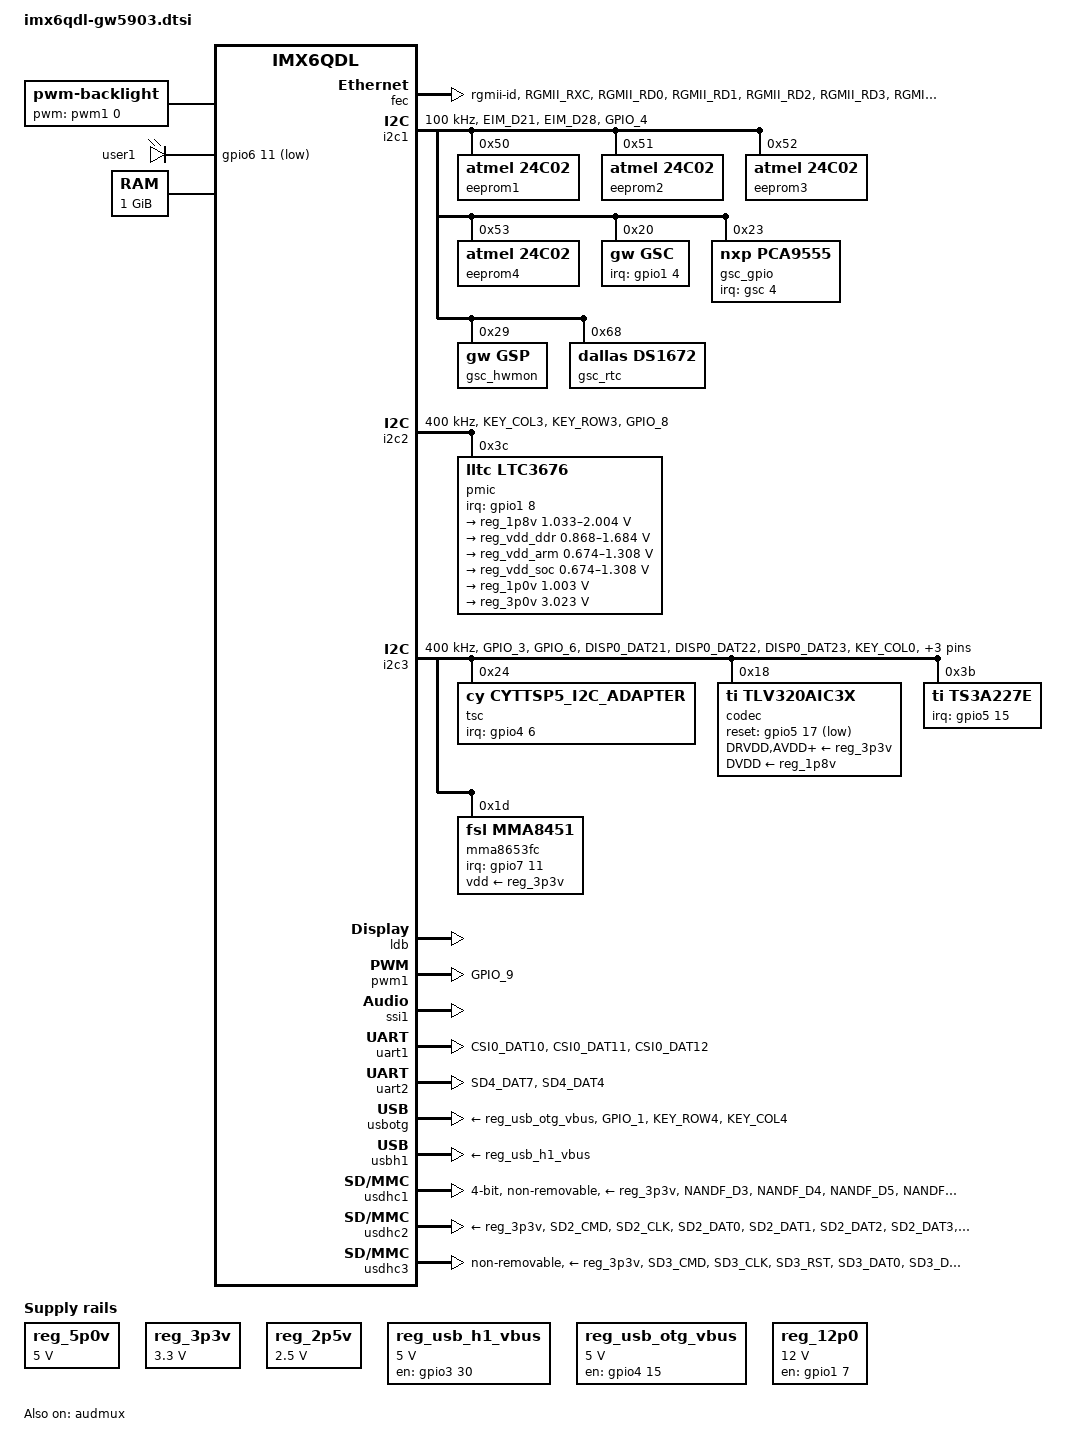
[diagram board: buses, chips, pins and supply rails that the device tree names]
/*
 * Copyright 2016 Gateworks Corporation
 *
 * The code contained herein is licensed under the GNU General Public
 * License. You may obtain a copy of the GNU General Public License
 * Version 2 or later at the following locations:
 *
 * http://www.opensource.org/licenses/gpl-license.html
 * http://www.gnu.org/copyleft/gpl.html
 */

#include <dt-bindings/gpio/gpio.h>

/ {
	aliases {
		mxcfb0 = &mxcfb1;
		ssi0 = &ssi1;
	};

	chosen {
		bootargs = "console=ttymxc1,115200";
	};

	backlight {
		compatible = "pwm-backlight";
		pwms = <&pwm1 0 5000000>;
		brightness-levels = <
			0  /*1  2  3  4  5  6*/  7  8  9
			10 11 12 13 14 15 16 17 18 19
			20 21 22 23 24 25 26 27 28 29
			30 31 32 33 34 35 36 37 38 39
			40 41 42 43 44 45 46 47 48 49
			50 51 52 53 54 55 56 57 58 59
			60 61 62 63 64 65 66 67 68 69
			70 71 72 73 74 75 76 77 78 79
			80 81 82 83 84 85 86 87 88 89
			90 91 92 93 94 95 96 97 98 99
			100
			>;
		default-brightness-level = <94>;
	};

	leds {
		compatible = "gpio-leds";
		pinctrl-names = "default";
		pinctrl-0 = <&pinctrl_gpio_leds>;

		led0: user1 {
			label = "user1";
			gpios = <&gpio6 11 GPIO_ACTIVE_LOW>; /* MX6_LECLED# */
			default-state = "off";
		};
	};

	memory {
		reg = <0x10000000 0x40000000>;
	};

	regulators {
		compatible = "simple-bus";
		#address-cells = <1>;
		#size-cells = <0>;

		reg_5p0v: regulator@0 {
			compatible = "regulator-fixed";
			reg = <0>;
			regulator-name = "5P0V";
			regulator-min-microvolt = <5000000>;
			regulator-max-microvolt = <5000000>;
			regulator-always-on;
		};

		reg_3p3v: regulator@1 {
			compatible = "regulator-fixed";
			reg = <1>;
			regulator-name = "3P3V";
			regulator-min-microvolt = <3300000>;
			regulator-max-microvolt = <3300000>;
			regulator-always-on;
		};

		reg_2p5v: regulator@2 {
			compatible = "regulator-fixed";
			reg = <2>;
			regulator-name = "2P5V";
			regulator-min-microvolt = <2500000>;
			regulator-max-microvolt = <2500000>;
			regulator-always-on;
		};

		reg_usb_h1_vbus: regulator@3 {
			compatible = "regulator-fixed";
			reg = <3>;
			regulator-name = "usb_h1_vbus";
			regulator-min-microvolt = <5000000>;
			regulator-max-microvolt = <5000000>;
			gpio = <&gpio3 30 0>;
			enable-active-high;
		};

		reg_usb_otg_vbus: regulator@4 {
			compatible = "regulator-fixed";
			reg = <4>;
			regulator-name = "usb_otg_vbus";
			regulator-min-microvolt = <5000000>;
			regulator-max-microvolt = <5000000>;
			gpio = <&gpio4 15 GPIO_ACTIVE_HIGH>;
			enable-active-high;
		};

		reg_12p0: regulator@5 {
			compatible = "regulator-fixed";
			reg = <5>;
			regulator-name = "12P0V";
			regulator-min-microvolt = <12000000>;
			regulator-max-microvolt = <12000000>;
			gpio = <&gpio1 7 GPIO_ACTIVE_HIGH>;
			enable-active-high;
		};
	};

	sound {
		compatible = "fsl,imx-audio-tlv320";
		model = "imx-tlv320";
		cpu-dai = <&ssi1>;
		audio-codec = <&codec>;
		/* routing of sink, soruce */
		audio-routing =
			/* TLV320 LINE1L pin <-> Mic Jack connector */
			"LINE1L", "Mic Jack",
			/* board Headphone Jack <-> HPOUT */
			"Headphone Jack", "HPLOUT",
			"Headphone Jack", "HPROUT",
			"Mic Jack", "Mic Bias";
		mux-int-port = <1>;
		mux-ext-port = <6>;
	};

	mxcfb1: fb@0 {
		/* LVDS */
		compatible = "fsl,mxc_sdc_fb";
		disp_dev = "ldb";
		interface_pix_fmt = "RGB666";
		default_bpp = <16>;
		int_clk = <0>;
		late_init = <0>;
		status = "okay";
	};

	v4l2_out {
		compatible = "fsl,mxc_v4l2_output";
		status = "okay";
	};
};

&audmux {
	pinctrl-names = "default";
	pinctrl-0 = <&pinctrl_audmux>;
	status = "okay";
};

&fec {
	pinctrl-names = "default";
	pinctrl-0 = <&pinctrl_enet>;
	phy-mode = "rgmii-id";
	pinctrl-assert-gpios = <&gpio1 25 GPIO_ACTIVE_HIGH>; /* PHY_EN */
/* FIXME: add back when/if we have support for DP83867 phy register write for 0x170
	phy-reset-gpios = <&gpio1 30 GPIO_ACTIVE_LOW>;
*/
	status = "okay";
};

&gpc {
	fsl,ldo-bypass = <0>;
};

&i2c1 {
	clock-frequency = <100000>;
	pinctrl-names = "default";
	pinctrl-0 = <&pinctrl_i2c1>;
	status = "okay";

	eeprom1: eeprom@50 {
		compatible = "atmel,24c02";
		reg = <0x50>;
		pagesize = <16>;
	};

	eeprom2: eeprom@51 {
		compatible = "atmel,24c02";
		reg = <0x51>;
		pagesize = <16>;
	};

	eeprom3: eeprom@52 {
		compatible = "atmel,24c02";
		reg = <0x52>;
		pagesize = <16>;
	};

	eeprom4: eeprom@53 {
		compatible = "atmel,24c02";
		reg = <0x53>;
		pagesize = <16>;
	};

	gsc: gsc@20 {
		compatible = "gw,gsc";
		reg = <0x20>;
		interrupt-parent = <&gpio1>;
		interrupts = <4 GPIO_ACTIVE_LOW>;
		interrupt-controller;
		#interrupt-cells = <1>;
		no-power-disable;

		/* GSC watchdog */
		watchdog {
			compatible = "gw,gsc_wdt";
			status = "okay";
		};

		/* Linux input events from GSC interrupt events */
		input {
			compatible = "gw,gsc_input";
			interrupt-parent = <&gsc>;
			interrupts = <0 1 2 5 7>;
			interrupt-names = "button", "key-erased", "eeprom-wp", "tamper", "button-held";
			status = "okay";
		};
	};

	gsc_gpio: pca9555@23 {
		compatible = "nxp,pca9555";
		reg = <0x23>;
		gpio-controller;
		#gpio-cells = <2>;
		interrupt-parent = <&gsc>;
		interrupts = <4>;
	};

	gsc_hwmon: hwmon@29 {
		compatible = "gw,gsp";
		reg = <0x29>;
	};

	gsc_rtc: ds1672@68 {
		compatible = "dallas,ds1672";
		reg = <0x68>;
	};
};

&i2c2 {
	clock-frequency = <400000>;
	pinctrl-names = "default";
	pinctrl-0 = <&pinctrl_i2c2>;
	status = "okay";

	pmic: ltc3676@3c {
		compatible = "lltc,ltc3676";
		reg = <0x3c>;
		interrupt-parent = <&gpio1>;
		interrupts = <8 IRQ_TYPE_EDGE_FALLING>;

		regulators {
			/* VDD_1P8 (1+R1/R2 = 2.505): Aud/eMMC/microSD/Touch */
			reg_1p8v: sw1 {
				regulator-name = "vdd1p8";
				regulator-min-microvolt = <1033310>;
				regulator-max-microvolt = <2004000>;
				lltc,fb-voltage-divider = <301000 200000>;
				regulator-ramp-delay = <7000>;
				regulator-boot-on;
				regulator-always-on;
			};

			/* VDD_DDR (1+R1/R2 = 2.105) */
			reg_vdd_ddr: sw2 {
				regulator-name = "vddddr";
				regulator-min-microvolt = <868310>;
				regulator-max-microvolt = <1684000>;
				lltc,fb-voltage-divider = <221000 200000>;
				regulator-ramp-delay = <7000>;
				regulator-boot-on;
				regulator-always-on;
			};

			/* VDD_ARM (1+R1/R2 = 1.635) */
			reg_vdd_arm: sw3 {
				regulator-name = "vddarm";
				regulator-min-microvolt = <674400>;
				regulator-max-microvolt = <1308000>;
				lltc,fb-voltage-divider = <127000 200000>;
				regulator-ramp-delay = <7000>;
				regulator-boot-on;
				regulator-always-on;
				linux,phandle = <&reg_vdd_arm>;
			};

			/* VDD_SOC (1+R1/R2 = 1.635) */
			reg_vdd_soc: sw4 {
				regulator-name = "vddsoc";
				regulator-min-microvolt = <674400>;
				regulator-max-microvolt = <1308000>;
				lltc,fb-voltage-divider = <127000 200000>;
				regulator-ramp-delay = <7000>;
				regulator-boot-on;
				regulator-always-on;
				linux,phandle = <&reg_vdd_soc>;
			};

			/* VDD_1P0 (1+R1/R2 = 1.38): */
			reg_1p0v: ldo2 {
				regulator-name = "vdd1p0";
				regulator-min-microvolt = <1002777>;
				regulator-max-microvolt = <1002777>;
				lltc,fb-voltage-divider = <100000 261000>;
				regulator-boot-on;
				regulator-always-on;
			};

			/* VDD_HIGH (1+R1/R2 = 4.17) */
			reg_3p0v: ldo4 {
				regulator-name = "vdd3p0";
				regulator-min-microvolt = <3023250>;
				regulator-max-microvolt = <3023250>;
				lltc,fb-voltage-divider = <634000 200000>;
				regulator-boot-on;
				regulator-always-on;
			};
		};
	};
};

&i2c3 {
	clock-frequency = <400000>;
	pinctrl-names = "default";
	pinctrl-0 = <&pinctrl_i2c3>;
	status = "okay";

	tsc@24 {
		compatible = "cy,cyttsp5_i2c_adapter";
		reg = <0x24>;
		interrupt-parent = <&gpio4>;
		interrupts = <6 IRQ_TYPE_EDGE_RISING>;

		cy,core {
			cy,name = "cyttsp5_core";

			cy,irq_gpio = <102>; /* GPIO4_IO06 */
			cy,rst_gpio = <104>; /* GPIO4_IO08 */
			cy,hid_desc_register = <1>;
			/* CY_CORE_FLAG_WAKE_ON_GESTURE | CY_CORE_FLAG_RESTORE_PARAMETERS */
			cy,flags = <5>;
			/* CY_CORE_EWG_NONE */
			cy,easy_wakeup_gesture = <0>;

			cy,mt {
				cy,name = "cyttsp5_mt";
				cy,inp_dev_name = "cyttsp5_mt";
				/* CY_MT_FLAG_INV_X | CY_MT_FLAG_INV_Y */
				cy,flags = <0x30>;
				cy,abs =
					/* ABS_MT_POSITION_X, CY_ABS_MIN_X, CY_ABS_MAX_X, 0, 0 */
					<0x35 0 880 0 0
					/* ABS_MT_POSITION_Y, CY_ABS_MIN_Y, CY_ABS_MAX_Y, 0, 0 */
					0x36 0 1280 0 0
					/* ABS_MT_PRESSURE, CY_ABS_MIN_P, CY_ABS_MAX_P, 0, 0 */
					0x3a 0 255 0 0
					/* CY_IGNORE_VALUE, CY_ABS_MIN_W, CY_ABS_MAX_W, 0, 0 */
					0xffff 0 255 0 0
					/* ABS_MT_TRACKING_ID, CY_ABS_MIN_T, CY_ABS_MAX_T, 0, 0 */
					0x39 0 15 0 0
					/* ABS_MT_TOUCH_MAJOR, 0, 255, 0, 0 */
					0x30 0 255 0 0
					/* ABS_MT_TOUCH_MINOR, 0, 255, 0, 0 */
					0x31 0 255 0 0
					/* ABS_MT_ORIENTATION, -127, 127, 0, 0 */
					0x34 0xffffff81 127 0 0
					/* ABS_MT_TOOL_TYPE, 0, MT_TOOL_MAX, 0, 0 */
					0x37 0 1 0 0
					/* ABS_DISTANCE, 0, 255, 0, 0 */
					0x19 0 255 0 0>;
			};
		};
	};

	codec: tlv320aic3105@18 {
		compatible = "ti,tlv320aic3x";
		reg = <0x18>;
		gpio-reset = <&gpio5 17 GPIO_ACTIVE_LOW>;
		clocks = <&clks IMX6QDL_CLK_CKO>;
		ai3x-micbias-vg = <2>; /* MICBIAS_2_5V */
		status = "okay";

		/* Regulators */
		DRVDD-supply = <&reg_3p3v>;
		AVDD-supply = <&reg_3p3v>;
		IOVDD-supply = <&reg_3p3v>;
		DVDD-supply = <&reg_1p8v>;
	};

	/* headphone detect */
	ts3a227e@3b {
		compatible = "ti,ts3a227e";
		reg = <0x3b>;
		interrupt-parent = <&gpio5>;
		interrupts = <15 IRQ_TYPE_LEVEL_LOW>;
		ti,micbias = <4>; /* 2.5V micbias */
	};

	/* accelerometer */
	mma8653fc@1d {
		compatible = "fsl,mma8451";
		reg = <0x1d>;
		interrupt-parent = <&gpio7>;
		interrupts = <11 IRQ_TYPE_EDGE_RISING>;
		interrupt-route = <1>;
		position = <7>;
		vdd-supply = <&reg_3p3v>;
	};
};

&ldb {
	status = "okay";

	lvds1: lvds-channel@0 {
		fsl,data-mapping = "spwg";
		fsl,data-width = <18>;
		crtc = "ipu1-di0";
		status = "okay";
		primary;

		display-timings {
			native-mode = <&timing0>;

			timing0: g101evn010 {
				clock-frequency = <68930000>;
				hactive = <1280>;
				vactive = <800>;
				hback-porch = <220>;
				hfront-porch = <40>;
				vback-porch = <21>;
				vfront-porch = <7>;
				hsync-len = <60>;
				vsync-len = <10>;
				linux,phandle = <&timing0>;
			};
		};
	};
};

&pwm1 {
	pinctrl-names = "default";
	pinctrl-0 = <&pinctrl_pwm1>;
	status = "okay";
};

&ssi1 {
	fsl,mode = "i2s-slave";
	status = "okay";
};

&uart1 {
	pinctrl-names = "default";
	pinctrl-0 = <&pinctrl_uart1>;
	status = "okay";
};

&uart2 {
	pinctrl-names = "default";
	pinctrl-0 = <&pinctrl_uart2>;
	status = "okay";
};

&usbotg {
	vbus-supply = <&reg_usb_otg_vbus>;
	pinctrl-names = "default";
	pinctrl-0 = <&pinctrl_usbotg>;
	disable-over-current;
	srp-disable;
	hnp-disable;
	adp-disable;
	status = "okay";
};

&usbh1 {
	vbus-supply = <&reg_usb_h1_vbus>;
	status = "okay";
};

/* usdhc@02190000 uBlox - EMMY */
&usdhc1 {
	pinctrl-names = "default";
	pinctrl-0 = <&pinctrl_usdhc1_200mhz>;
	vmmc-supply = <&reg_3p3v>;
	non-removable;
	bus-width = <4>;
	status = "okay";
};

/* usdhc@02194000 microSD */
&usdhc2 {
	pinctrl-names = "default", "state_100mhz", "state_200mhz";
	pinctrl-0 = <&pinctrl_usdhc2>;
	pinctrl-1 = <&pinctrl_usdhc2_100mhz>;
	pinctrl-2 = <&pinctrl_usdhc2_200mhz>;
	cd-gpios = <&gpio6 11 GPIO_ACTIVE_LOW>;
	vmmc-supply = <&reg_3p3v>;
	max-frequency = <100000000>;
	status = "okay";
};

/* usdhc@02198000 eMMC */
&usdhc3 {
	pinctrl-names = "default", "state_100mhz", "state_200mhz";
	pinctrl-0 = <&pinctrl_usdhc3>;
	pinctrl-1 = <&pinctrl_usdhc3_100mhz>;
	pinctrl-2 = <&pinctrl_usdhc3_200mhz>;
	non-removable;
	vmmc-supply = <&reg_3p3v>;
	keep-power-in-suspend;
        status = "okay";
};

&wdog1 {
	pinctrl-names = "default";
	pinctrl-0 = <&pinctrl_wdog>;
	ext-reset-output;
};

&iomuxc {
	pinctrl-names = "default";
	pinctrl-0 = <&pinctrl_hog>;

	imx6qdl-gw53xx {
		pinctrl_hog: hoggrp {
			fsl,pins = <
				MX6QDL_PAD_GPIO_17__GPIO7_IO12	0x4001b0b0 /* LVDS_BKLEN */
				MX6QDL_PAD_EIM_D30__GPIO3_IO30	0x0001b0b0 /* USBH1_PEN */
				MX6QDL_PAD_EIM_D31__GPIO3_IO31	0x0001b0b0 /* USBH1_FLT# */

				MX6QDL_PAD_GPIO_7__GPIO1_IO07	0x4001b0b0 /* 12VEN */
				MX6QDL_PAD_KEY_ROW0__GPIO4_IO07	0x4001b0b0 /* DPC_PEN */
				MX6QDL_PAD_KEY_ROW2__GPIO4_IO11 0x0001b0b0 /* DPC_FLT# */
			 >;
		};

		pinctrl_audmux: audmuxgrp {
			fsl,pins = <
				MX6QDL_PAD_DI0_PIN2__AUD6_TXD		0x130b0
				MX6QDL_PAD_DI0_PIN3__AUD6_TXFS		0x130b0
				MX6QDL_PAD_DI0_PIN4__AUD6_RXD		0x130b0
				MX6QDL_PAD_DI0_PIN15__AUD6_TXC		0x130b0
				MX6QDL_PAD_GPIO_0__CCM_CLKO1		0x130b0 /* MCK */
			>;
		};

		pinctrl_enet: enetgrp {
			fsl,pins = <
				MX6QDL_PAD_RGMII_RXC__RGMII_RXC		0x1b0b0
				MX6QDL_PAD_RGMII_RD0__RGMII_RD0		0x1b0b0
				MX6QDL_PAD_RGMII_RD1__RGMII_RD1		0x1b0b0
				MX6QDL_PAD_RGMII_RD2__RGMII_RD2		0x1b0b0
				MX6QDL_PAD_RGMII_RD3__RGMII_RD3		0x1b0b0
				MX6QDL_PAD_RGMII_RX_CTL__RGMII_RX_CTL	0x1b0b0
				MX6QDL_PAD_RGMII_TXC__RGMII_TXC		0x1b0b0
				MX6QDL_PAD_RGMII_TD0__RGMII_TD0		0x1b0b0
				MX6QDL_PAD_RGMII_TD1__RGMII_TD1		0x1b0b0
				MX6QDL_PAD_RGMII_TD2__RGMII_TD2		0x1b0b0
				MX6QDL_PAD_RGMII_TD3__RGMII_TD3		0x1b0b0
				MX6QDL_PAD_RGMII_TX_CTL__RGMII_TX_CTL	0x1b0b0
				MX6QDL_PAD_ENET_REF_CLK__ENET_TX_CLK	0x1b0b0
				MX6QDL_PAD_ENET_MDIO__ENET_MDIO		0x1b0b0
				MX6QDL_PAD_ENET_MDC__ENET_MDC		0x1b0b0
				MX6QDL_PAD_ENET_TXD0__GPIO1_IO30	0x4001b0b0 /* PHY_RST# */
				MX6QDL_PAD_ENET_CRS_DV__GPIO1_IO25	0x4001b0b0 /* PHY_EN */
			>;
		};

		pinctrl_gpio_leds: gpioledsgrp {
			fsl,pins = <
				MX6QDL_PAD_NANDF_CS1__GPIO6_IO14	0x1b0b1
			>;
		};

		pinctrl_i2c1: i2c1grp {
			fsl,pins = <
				MX6QDL_PAD_EIM_D21__I2C1_SCL		0x4001b8b1
				MX6QDL_PAD_EIM_D28__I2C1_SDA		0x4001b8b1
				MX6QDL_PAD_GPIO_4__GPIO1_IO04		0x0001b0b0 /* GSC_IRQ# */
			>;
		};

		pinctrl_i2c2: i2c2grp {
			fsl,pins = <
				MX6QDL_PAD_KEY_COL3__I2C2_SCL		0x4001b8b1
				MX6QDL_PAD_KEY_ROW3__I2C2_SDA		0x4001b8b1
				MX6QDL_PAD_GPIO_8__GPIO1_IO08		0x0001b0b0 /* PMIC_IRQ# */
			>;
		};

		pinctrl_i2c3: i2c3grp {
			fsl,pins = <
				/* I2C3 */
				MX6QDL_PAD_GPIO_3__I2C3_SCL		0x4001b8b1
				MX6QDL_PAD_GPIO_6__I2C3_SDA		0x4001b8b1

				/* Headphone Detect */
				MX6QDL_PAD_DISP0_DAT21__GPIO5_IO15	0x0001b0b0 /* HPDET_IRQ# */
				MX6QDL_PAD_DISP0_DAT22__GPIO5_IO16	0x0001b0b0 /* HPDET_MIC# */

				/* Codec */
				MX6QDL_PAD_DISP0_DAT23__GPIO5_IO17	0x0001b0b0 /* CODEC_RST# */

				/* Touch Controller */
				MX6QDL_PAD_KEY_COL0__GPIO4_IO06		0x0001b0b0 /* TOUCH_IRQ# */
				MX6QDL_PAD_KEY_COL1__GPIO4_IO08		0x0001b0b0 /* TOUCH_RST */

				/* Stow Sensor */
				MX6QDL_PAD_GPIO_16__GPIO7_IO11		0x0001b0b0 /* ACCEL_IRQ2 */
				MX6QDL_PAD_GPIO_18__GPIO7_IO13		0x0001b0b0 /* ACCEL_IRQ1 */
			>;
		};

		pinctrl_pwm1: pwm1grp {
			fsl,pins = <
				MX6QDL_PAD_GPIO_9__PWM1_OUT		0x1b0b1
			>;
		};

		pinctrl_uart1: uart1grp {
			fsl,pins = <
				MX6QDL_PAD_CSI0_DAT10__UART1_TX_DATA	0x1b0b1
				MX6QDL_PAD_CSI0_DAT11__UART1_RX_DATA	0x1b0b1
				MX6QDL_PAD_CSI0_DAT12__GPIO5_IO30	0x1b0b1 /* TXEN */
			>;
		};

		pinctrl_uart2: uart2grp {
			fsl,pins = <
				MX6QDL_PAD_SD4_DAT7__UART2_TX_DATA	0x1b0b1
				MX6QDL_PAD_SD4_DAT4__UART2_RX_DATA	0x1b0b1
			>;
		};

		pinctrl_usbotg: usbotggrp {
			fsl,pins = <
				MX6QDL_PAD_GPIO_1__USB_OTG_ID		0x13059
				MX6QDL_PAD_KEY_ROW4__GPIO4_IO15		0x4001b0b0 /* PWR_EN */
				MX6QDL_PAD_KEY_COL4__GPIO4_IO14		0x1b0b0 /* OC */
			>;
		};

		/* uBlox - EMMY */
		pinctrl_usdhc1_200mhz: usdhc1grp200mhz {
			fsl,pins = <
				MX6QDL_PAD_NANDF_D3__GPIO2_IO03		0x4001b0b0 /* EMMY_EN */
				MX6QDL_PAD_NANDF_D4__GPIO2_IO04		0x4001b0b0 /* EMMY_CFG1# */
				MX6QDL_PAD_NANDF_D5__GPIO2_IO05		0x4001b0b0 /* EMMY_CFG2# */
				MX6QDL_PAD_NANDF_D6__GPIO2_IO06		0x0001b0b0 /* EMMY_BTWAKE# */
				MX6QDL_PAD_NANDF_D7__GPIO2_IO07		0x0001b0b0 /* EMMY_WFWAKE# */

				MX6QDL_PAD_SD1_CLK__SD1_CLK		0x100f9
				MX6QDL_PAD_SD1_CMD__SD1_CMD		0x100f9
				MX6QDL_PAD_SD1_DAT0__SD1_DATA0		0x170f9
				MX6QDL_PAD_SD1_DAT1__SD1_DATA1		0x170f9
				MX6QDL_PAD_SD1_DAT2__SD1_DATA2		0x170f9
				MX6QDL_PAD_SD1_DAT3__SD1_DATA3		0x170f9
			>;
		};

		/* microSD */
		pinctrl_usdhc2: usdhc2grp {
			fsl,pins = <
				MX6QDL_PAD_SD2_CMD__SD2_CMD		0x17059
				MX6QDL_PAD_SD2_CLK__SD2_CLK		0x10059
				MX6QDL_PAD_SD2_DAT0__SD2_DATA0		0x17059
				MX6QDL_PAD_SD2_DAT1__SD2_DATA1		0x17059
				MX6QDL_PAD_SD2_DAT2__SD2_DATA2		0x17059
				MX6QDL_PAD_SD2_DAT3__SD2_DATA3		0x17059
				MX6QDL_PAD_NANDF_CS0__GPIO6_IO11	0x17059 /* CD */
				MX6QDL_PAD_KEY_ROW1__SD2_VSELECT	0x17059
			>;
		};

		pinctrl_usdhc2_100mhz: usdhc2grp100mhz {
			fsl,pins = <
				MX6QDL_PAD_SD2_CMD__SD2_CMD		0x170b9
				MX6QDL_PAD_SD2_CLK__SD2_CLK		0x100b9
				MX6QDL_PAD_SD2_DAT0__SD2_DATA0		0x170b9
				MX6QDL_PAD_SD2_DAT1__SD2_DATA1		0x170b9
				MX6QDL_PAD_SD2_DAT2__SD2_DATA2		0x170b9
				MX6QDL_PAD_SD2_DAT3__SD2_DATA3		0x170b9
				MX6QDL_PAD_NANDF_CS0__GPIO6_IO11	0x170b9 /* CD */
				MX6QDL_PAD_KEY_ROW1__SD2_VSELECT	0x170b9
			>;
		};

		pinctrl_usdhc2_200mhz: usdhc2grp200mhz {
			fsl,pins = <
				MX6QDL_PAD_SD2_CMD__SD2_CMD		0x170f9
				MX6QDL_PAD_SD2_CLK__SD2_CLK		0x100f9
				MX6QDL_PAD_SD2_DAT0__SD2_DATA0		0x170f9
				MX6QDL_PAD_SD2_DAT1__SD2_DATA1		0x170f9
				MX6QDL_PAD_SD2_DAT2__SD2_DATA2		0x170f9
				MX6QDL_PAD_SD2_DAT3__SD2_DATA3		0x170f9
				MX6QDL_PAD_NANDF_CS0__GPIO6_IO11	0x170f9 /* CD */
				MX6QDL_PAD_KEY_ROW1__SD2_VSELECT	0x170f9
			>;
		};

		/* eMMC */
		pinctrl_usdhc3: usdhc3grp {
			fsl,pins = <
				MX6QDL_PAD_SD3_CMD__SD3_CMD		0x17059
				MX6QDL_PAD_SD3_CLK__SD3_CLK		0x10059
				MX6QDL_PAD_SD3_RST__SD3_RESET		0x10059
				MX6QDL_PAD_SD3_DAT0__SD3_DATA0		0x17059
				MX6QDL_PAD_SD3_DAT1__SD3_DATA1		0x17059
				MX6QDL_PAD_SD3_DAT2__SD3_DATA2		0x17059
				MX6QDL_PAD_SD3_DAT3__SD3_DATA3		0x17059
				MX6QDL_PAD_SD3_DAT4__SD3_DATA4		0x17059
				MX6QDL_PAD_SD3_DAT5__SD3_DATA5		0x17059
				MX6QDL_PAD_SD3_DAT6__SD3_DATA6		0x17059
				MX6QDL_PAD_SD3_DAT7__SD3_DATA7		0x17059
			>;
		};

		pinctrl_usdhc3_100mhz: usdhc3grp100mhz {
			fsl,pins = <
				MX6QDL_PAD_SD3_CMD__SD3_CMD		0x170b9
				MX6QDL_PAD_SD3_CLK__SD3_CLK		0x100b9
				MX6QDL_PAD_SD3_RST__SD3_RESET		0x100b9
				MX6QDL_PAD_SD3_DAT0__SD3_DATA0		0x170b9
				MX6QDL_PAD_SD3_DAT1__SD3_DATA1		0x170b9
				MX6QDL_PAD_SD3_DAT2__SD3_DATA2		0x170b9
				MX6QDL_PAD_SD3_DAT3__SD3_DATA3		0x170b9
				MX6QDL_PAD_SD3_DAT4__SD3_DATA4		0x170b9
				MX6QDL_PAD_SD3_DAT5__SD3_DATA5		0x170b9
				MX6QDL_PAD_SD3_DAT6__SD3_DATA6		0x170b9
				MX6QDL_PAD_SD3_DAT7__SD3_DATA7		0x170b9
			>;
		};

		pinctrl_usdhc3_200mhz: usdhc3grp200mhz {
			fsl,pins = <
				MX6QDL_PAD_SD3_CMD__SD3_CMD		0x170f9
				MX6QDL_PAD_SD3_CLK__SD3_CLK		0x100f9
				MX6QDL_PAD_SD3_RST__SD3_RESET		0x100f9
				MX6QDL_PAD_SD3_DAT0__SD3_DATA0		0x170f9
				MX6QDL_PAD_SD3_DAT1__SD3_DATA1		0x170f9
				MX6QDL_PAD_SD3_DAT2__SD3_DATA2		0x170f9
				MX6QDL_PAD_SD3_DAT3__SD3_DATA3		0x170f9
				MX6QDL_PAD_SD3_DAT4__SD3_DATA4		0x170f9
				MX6QDL_PAD_SD3_DAT5__SD3_DATA5		0x170f9
				MX6QDL_PAD_SD3_DAT6__SD3_DATA6		0x170f9
				MX6QDL_PAD_SD3_DAT7__SD3_DATA7		0x170f9
			>;
		};

		pinctrl_wdog: wdoggrp {
			fsl,pins = <
				MX6QDL_PAD_DISP0_DAT8__WDOG1_B		0x1b0b0
			>;
		};
	};
};
